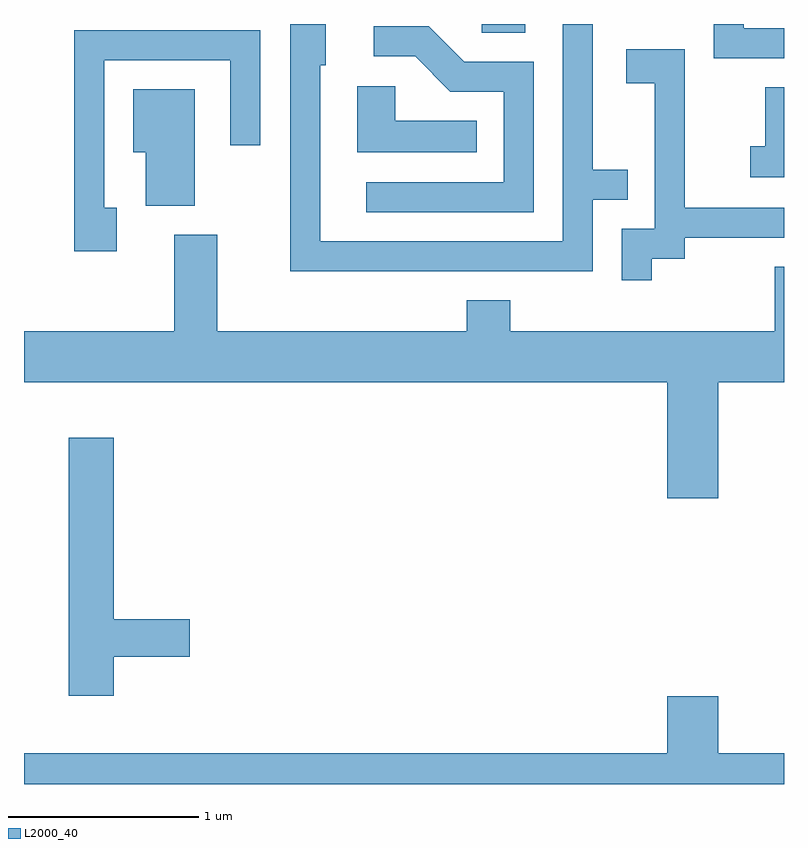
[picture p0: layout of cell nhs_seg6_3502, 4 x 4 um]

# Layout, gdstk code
import gdstk
lib = gdstk.Library(unit=1e-6, precision=1e-09)
def R(c, l, rs):  # rectangles x0, y0, x1, y1
    for r in rs: c.add(gdstk.rectangle(r[:2], r[2:], *l))
def P(c, l, *ps):  # polygons
    for p in ps: c.add(gdstk.Polygon(p, *l))
L2000_40 = (2000, 40)

nhs_seg6_3502 = lib.new_cell('nhs_seg6_3502')
R(nhs_seg6_3502, L2000_40, [(294.021,1534.116,294.249,1534.162)])
P(nhs_seg6_3502, L2000_40, [(294.604,1533.236),(294.788,1533.236),(294.788,1533.394),(294.604,1533.394),(294.604,1534.162),(294.446,1534.162),(294.446,1533.019),(293.169,1533.019),(293.169,1533.946),(293.199,1533.946),(293.199,1534.162),(293.011,1534.162),(293.011,1532.861),(294.604,1532.861)],
  [(295.611,1534.139),(295.399,1534.139),(295.399,1534.162),(295.241,1534.162),(295.241,1533.981),(295.611,1533.981)],
  [(294.294,1533.964),(293.927,1533.964),(293.742,1534.149),(293.453,1534.149),(293.453,1533.991),(293.669,1533.991),(293.854,1533.806),(294.136,1533.806),(294.136,1533.329),(293.413,1533.329),(293.413,1533.171),(294.294,1533.171)],
  [(292.099,1533.194),(292.034,1533.194),(292.034,1533.971),(292.696,1533.971),(292.696,1533.523),(292.854,1533.523),(292.854,1534.129),(291.876,1534.129),(291.876,1532.966),(292.099,1532.966)],
  [(294.914,1532.926),(295.089,1532.926),(295.089,1533.036),(295.611,1533.036),(295.611,1533.194),(295.089,1533.194),(295.089,1534.029),(294.781,1534.029),(294.781,1533.851),(294.931,1533.851),(294.931,1533.084),(294.756,1533.084),(294.756,1532.813),(294.914,1532.813)],
  [(293.993,1533.654),(293.564,1533.654),(293.564,1533.834),(293.366,1533.834),(293.366,1533.486),(293.993,1533.486)],
  [(295.611,1533.829),(295.511,1533.829),(295.511,1533.519),(295.433,1533.519),(295.433,1533.356),(295.611,1533.356)],
  [(292.509,1533.819),(292.186,1533.819),(292.186,1533.486),(292.251,1533.486),(292.251,1533.206),(292.509,1533.206)],
  [(295.264,1532.276),(295.611,1532.276),(295.611,1532.884),(295.561,1532.884),(295.561,1532.544),(294.169,1532.544),(294.169,1532.709),(293.941,1532.709),(293.941,1532.544),(292.629,1532.544),(292.629,1533.054),(292.401,1533.054),(292.401,1532.544),(291.611,1532.544),(291.611,1532.276),(294.996,1532.276),(294.996,1531.666),(295.264,1531.666)],
  [(292.084,1530.831),(292.484,1530.831),(292.484,1531.029),(292.084,1531.029),(292.084,1531.984),(291.846,1531.984),(291.846,1530.626),(292.084,1530.626)],
  [(291.611,1530.162),(295.611,1530.162),(295.611,1530.324),(295.264,1530.324),(295.264,1530.624),(294.996,1530.624),(294.996,1530.324),(291.611,1530.324)])

lib.write_gds('nhs_seg6_3502.gds')
